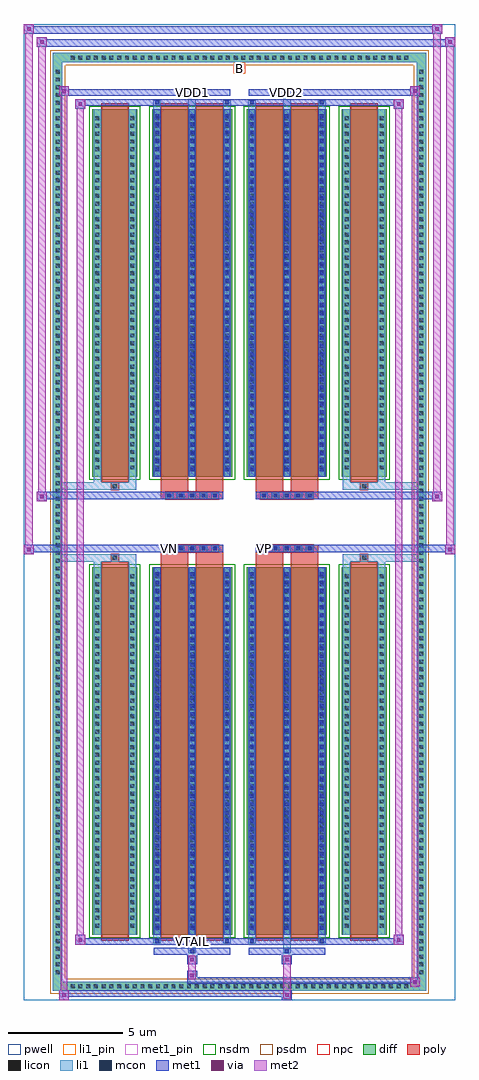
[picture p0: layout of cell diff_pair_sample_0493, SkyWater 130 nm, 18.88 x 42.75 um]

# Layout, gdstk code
import gdstk
lib = gdstk.Library(unit=1e-6, precision=5e-09)
def R(c, l, rs):  # rectangles x0, y0, x1, y1
    for r in rs: c.add(gdstk.rectangle(r[:2], r[2:], *l))
def A(c, l, x, y, w, h, nx, ny, dx, dy):  # array of equal rectangles
    R(c, l, [(x+i*dx, y+j*dy, x+i*dx+w, y+j*dy+h) for i in range(nx) for j in range(ny)])
def P(c, l, *ps):  # polygons
    for p in ps: c.add(gdstk.Polygon(p, *l))
pwell = (64, 44)
diff = (65, 20)
poly = (66, 20)
licon = (66, 44)
li1_pin = (67, 16)
li1 = (67, 20)
mcon = (67, 44)
met1_pin = (68, 16)
met1 = (68, 20)
via = (68, 44)
met2 = (69, 20)
nsdm = (93, 44)
psdm = (94, 20)
npc = (95, 20)

diff_pair_sample_0493 = lib.new_cell('diff_pair_sample_0493')
R(diff_pair_sample_0493, pwell, [(-9.44,-20.94,9.44,21.81), (-6.76,-19.13,-0.01,-0.795), (0.01,-19.13,6.76,-0.795), (-6.76,0.795,-0.01,19.13), (0.01,0.795,6.76,19.13)])
A(diff_pair_sample_0493, diff, -7.515, -20.54, 0.41, 0.41, 44, 2, 0.34, 40.67)
A(diff_pair_sample_0493, diff, -8.17, -19.925, 0.41, 0.41, 1, 117, 0, 0.34)
A(diff_pair_sample_0493, diff, 7.76, -19.925, 0.41, 0.41, 1, 117, 0, 0.34)
R(diff_pair_sample_0493, diff, [(-7.515,-20.54,7.515,-20.13), (-8.17,-19.925,-7.76,19.925), (7.76,-19.925,8.17,19.925), (-6.45,-18.085,-4.47,-1.985), (-3.83,-18.085,-0.32,-1.985), (0.32,-18.085,3.83,-1.985), (4.47,-18.085,6.45,-1.985), (-6.45,1.985,-4.47,18.085), (-3.83,1.985,-0.32,18.085), (0.32,1.985,3.83,18.085), (4.47,1.985,6.45,18.085), (-7.515,20.13,7.515,20.54)])
P(diff_pair_sample_0493, diff, [(8.17,20.54),(-8.17,20.54),(-8.17,-20.13),(-7.76,-20.13),(-7.76,20.13),(7.76,20.13),(7.76,-20.13),(-7.76,-20.13),(-8.17,-20.13),(-8.17,-20.54),(8.17,-20.54)])
A(diff_pair_sample_0493, poly, -3.24, -1.325, 0.33, 0.33, 5, 2, 0.5, 2.32)
A(diff_pair_sample_0493, poly, 0.91, -1.325, 0.33, 0.33, 5, 2, 0.5, 2.32)
R(diff_pair_sample_0493, poly, [(-6.06,-18.335,-4.86,-1.735), (-3.44,-18.335,-2.24,-1.735), (-1.91,-18.335,-0.71,-1.735), (0.71,-18.335,1.91,-1.735), (2.24,-18.335,3.44,-1.735), (4.86,-18.335,6.06,-1.735), (-5.625,-1.735,-5.295,-1.405), (-5.625,-1.735,-5.295,-1.405), (-3.44,-1.735,-2.24,-1.325), (-1.91,-1.735,-0.71,-1.325), (0.71,-1.735,1.91,-1.325), (2.24,-1.735,3.44,-1.325), (5.295,-1.735,5.625,-1.405), (5.295,-1.735,5.625,-1.405), (-3.44,-1.325,-0.71,-0.995), (0.71,-1.325,3.44,-0.995), (-3.44,0.995,-0.71,1.325), (0.71,0.995,3.44,1.325), (-3.44,1.325,-2.24,1.735), (-1.91,1.325,-0.71,1.735), (0.71,1.325,1.91,1.735), (2.24,1.325,3.44,1.735), (-5.625,1.405,-5.295,1.735), (-5.625,1.405,-5.295,1.735), (5.295,1.405,5.625,1.735), (5.295,1.405,5.625,1.735), (-6.06,1.735,-4.86,18.335), (-3.44,1.735,-2.24,18.335), (-1.91,1.735,-0.71,18.335), (0.71,1.735,1.91,18.335), (2.24,1.735,3.44,18.335), (4.86,1.735,6.06,18.335)])
A(diff_pair_sample_0493, licon, -7.395, -20.42, 0.17, 0.17, 44, 2, 0.34, 40.67)
A(diff_pair_sample_0493, licon, -8.05, -19.805, 0.17, 0.17, 1, 117, 0, 0.34)
A(diff_pair_sample_0493, licon, 7.88, -19.805, 0.17, 0.17, 1, 117, 0, 0.34)
A(diff_pair_sample_0493, licon, -6.31, -17.77, 0.17, 0.17, 1, 46, 0, 0.34)
A(diff_pair_sample_0493, licon, -4.78, -17.77, 0.17, 0.17, 1, 46, 0, 0.34)
A(diff_pair_sample_0493, licon, -3.69, -17.77, 0.17, 0.17, 3, 46, 1.53, 0.34)
A(diff_pair_sample_0493, licon, 0.46, -17.77, 0.17, 0.17, 3, 46, 1.53, 0.34)
A(diff_pair_sample_0493, licon, 4.61, -17.77, 0.17, 0.17, 1, 46, 0, 0.34)
A(diff_pair_sample_0493, licon, 6.14, -17.77, 0.17, 0.17, 1, 46, 0, 0.34)
A(diff_pair_sample_0493, licon, -3.16, -1.245, 0.17, 0.17, 5, 2, 0.5, 2.32)
A(diff_pair_sample_0493, licon, 0.99, -1.245, 0.17, 0.17, 5, 2, 0.5, 2.32)
A(diff_pair_sample_0493, licon, -6.31, 2.3, 0.17, 0.17, 1, 46, 0, 0.34)
A(diff_pair_sample_0493, licon, -4.78, 2.3, 0.17, 0.17, 1, 46, 0, 0.34)
A(diff_pair_sample_0493, licon, -3.69, 2.3, 0.17, 0.17, 3, 46, 1.53, 0.34)
A(diff_pair_sample_0493, licon, 0.46, 2.3, 0.17, 0.17, 3, 46, 1.53, 0.34)
A(diff_pair_sample_0493, licon, 4.61, 2.3, 0.17, 0.17, 1, 46, 0, 0.34)
A(diff_pair_sample_0493, licon, 6.14, 2.3, 0.17, 0.17, 1, 46, 0, 0.34)
R(diff_pair_sample_0493, licon, [(-5.545,-1.655,-5.375,-1.485), (5.375,-1.655,5.545,-1.485), (-5.545,1.485,-5.375,1.655), (5.375,1.485,5.545,1.655)])
R(diff_pair_sample_0493, li1_pin, [(-0.25,19.63,0.25,20.13)])
A(diff_pair_sample_0493, li1, -7.475, -20.5, 0.33, 0.33, 44, 2, 0.34, 40.67)
A(diff_pair_sample_0493, li1, -8.13, -19.885, 0.33, 0.33, 1, 117, 0, 0.34)
A(diff_pair_sample_0493, li1, 7.8, -19.885, 0.33, 0.33, 1, 117, 0, 0.34)
A(diff_pair_sample_0493, li1, -3.77, -18.085, 0.33, 16.1, 3, 2, 1.53, 20.07)
A(diff_pair_sample_0493, li1, 0.38, -18.085, 0.33, 16.1, 3, 2, 1.53, 20.07)
A(diff_pair_sample_0493, li1, -3.69, -17.86, 0.17, 0.17, 3, 44, 1.53, 0.36)
A(diff_pair_sample_0493, li1, -3.69, -17.86, 0.17, 15.65, 3, 2, 1.53, 20.07)
A(diff_pair_sample_0493, li1, 0.46, -17.86, 0.17, 0.17, 3, 44, 1.53, 0.36)
A(diff_pair_sample_0493, li1, 0.46, -17.86, 0.17, 15.65, 3, 2, 1.53, 20.07)
A(diff_pair_sample_0493, li1, -6.39, -17.85, 0.33, 0.33, 1, 46, 0, 0.34)
A(diff_pair_sample_0493, li1, -4.86, -17.85, 0.33, 0.33, 1, 46, 0, 0.34)
A(diff_pair_sample_0493, li1, -3.77, -17.85, 0.33, 0.33, 3, 46, 1.53, 0.34)
A(diff_pair_sample_0493, li1, 0.38, -17.85, 0.33, 0.33, 3, 46, 1.53, 0.34)
A(diff_pair_sample_0493, li1, 4.53, -17.85, 0.33, 0.33, 1, 46, 0, 0.34)
A(diff_pair_sample_0493, li1, 6.06, -17.85, 0.33, 0.33, 1, 46, 0, 0.34)
A(diff_pair_sample_0493, li1, -3.24, -1.325, 0.33, 0.33, 5, 2, 0.5, 2.32)
A(diff_pair_sample_0493, li1, 0.91, -1.325, 0.33, 0.33, 5, 2, 0.5, 2.32)
A(diff_pair_sample_0493, li1, -3.69, 2.21, 0.17, 0.17, 3, 44, 1.53, 0.36)
A(diff_pair_sample_0493, li1, 0.46, 2.21, 0.17, 0.17, 3, 44, 1.53, 0.36)
A(diff_pair_sample_0493, li1, -6.39, 2.22, 0.33, 0.33, 1, 46, 0, 0.34)
A(diff_pair_sample_0493, li1, -4.86, 2.22, 0.33, 0.33, 1, 46, 0, 0.34)
A(diff_pair_sample_0493, li1, -3.77, 2.22, 0.33, 0.33, 3, 46, 1.53, 0.34)
A(diff_pair_sample_0493, li1, 0.38, 2.22, 0.33, 0.33, 3, 46, 1.53, 0.34)
A(diff_pair_sample_0493, li1, 4.53, 2.22, 0.33, 0.33, 1, 46, 0, 0.34)
A(diff_pair_sample_0493, li1, 6.06, 2.22, 0.33, 0.33, 1, 46, 0, 0.34)
R(diff_pair_sample_0493, li1, [(-8.17,-20.54,-7.76,-20.13), (-8.17,-20.54,-7.76,-20.13), (-7.76,-20.54,7.76,-20.13), (7.76,-20.54,8.17,-20.13), (7.76,-20.54,8.17,-20.13), (-8.17,-20.13,-7.76,20.13), (7.76,-20.13,8.17,20.13), (-2.24,-18.89,-1.91,-18.085), (-2.16,-18.89,-1.99,-18.72), (1.91,-18.89,2.24,-18.085), (1.99,-18.89,2.16,-18.72), (-3.77,-18.46,-3.44,-18.085), (-3.69,-18.46,-3.52,-18.29), (-0.71,-18.46,-0.38,-18.085), (-0.63,-18.46,-0.46,-18.29), (0.38,-18.46,0.71,-18.085), (0.46,-18.46,0.63,-18.29), (3.44,-18.46,3.77,-18.085), (3.52,-18.46,3.69,-18.29), (-6.39,-18.085,-6.06,-1.985), (-4.86,-18.085,-4.53,-1.985), (4.53,-18.085,4.86,-1.985), (6.06,-18.085,6.39,-1.985), (-6.39,-1.985,-6.06,-1.405), (-4.86,-1.985,-4.53,-1.405), (4.53,-1.985,4.86,-1.405), (6.06,-1.985,6.39,-1.405), (-8.17,-1.735,-5.625,-1.405), (-6.39,-1.735,-5.625,-1.405), (-5.625,-1.735,-5.295,-1.405), (-5.295,-1.735,-4.53,-1.405), (4.53,-1.735,5.295,-1.405), (5.295,-1.735,5.625,-1.405), (5.295,-1.735,8.17,-1.405), (5.625,-1.735,6.39,-1.405), (-8.17,1.405,-5.625,1.735), (-6.39,1.405,-5.625,1.735), (-6.39,1.405,-6.06,1.985), (-5.625,1.405,-5.295,1.735), (-5.295,1.405,-4.53,1.735), (-4.86,1.405,-4.53,1.985), (4.53,1.405,5.295,1.735), (4.53,1.405,4.86,1.985), (5.295,1.405,5.625,1.735), (5.295,1.405,8.17,1.735), (5.625,1.405,6.39,1.735), (6.06,1.405,6.39,1.985), (-6.39,1.985,-6.06,18.085), (-4.86,1.985,-4.53,18.085), (4.53,1.985,4.86,18.085), (6.06,1.985,6.39,18.085), (-3.77,18.085,-3.44,18.46), (-2.24,18.085,-1.91,18.89), (-0.71,18.085,-0.38,18.46), (0.38,18.085,0.71,18.46), (1.91,18.085,2.24,18.89), (3.44,18.085,3.77,18.46), (-3.69,18.29,-3.52,18.46), (-0.63,18.29,-0.46,18.46), (0.46,18.29,0.63,18.46), (3.52,18.29,3.69,18.46), (-2.16,18.72,-1.99,18.89), (1.99,18.72,2.16,18.89), (-8.17,20.13,-7.76,20.54), (-8.17,20.13,-7.76,20.54), (-7.76,20.13,7.76,20.54), (7.76,20.13,8.17,20.54), (7.76,20.13,8.17,20.54)])
A(diff_pair_sample_0493, mcon, -3.69, -17.86, 0.17, 0.17, 3, 44, 1.53, 0.36)
A(diff_pair_sample_0493, mcon, 0.46, -17.86, 0.17, 0.17, 3, 44, 1.53, 0.36)
A(diff_pair_sample_0493, mcon, -3.16, -1.245, 0.17, 0.17, 5, 2, 0.5, 2.32)
A(diff_pair_sample_0493, mcon, 0.99, -1.245, 0.17, 0.17, 5, 2, 0.5, 2.32)
A(diff_pair_sample_0493, mcon, -3.69, 2.21, 0.17, 0.17, 3, 44, 1.53, 0.36)
A(diff_pair_sample_0493, mcon, 0.46, 2.21, 0.17, 0.17, 3, 44, 1.53, 0.36)
R(diff_pair_sample_0493, mcon, [(-2.16,-18.89,-1.99,-18.72), (1.99,-18.89,2.16,-18.72), (-3.69,-18.46,-3.52,-18.29), (-0.63,-18.46,-0.46,-18.29), (0.46,-18.46,0.63,-18.29), (3.52,-18.46,3.69,-18.29), (-3.69,18.29,-3.52,18.46), (-0.63,18.29,-0.46,18.46), (0.46,18.29,0.63,18.46), (3.52,18.29,3.69,18.46), (-2.16,18.72,-1.99,18.89), (1.99,18.72,2.16,18.89)])
R(diff_pair_sample_0493, met1_pin, [(-2.21,-18.5,-1.94,-18.23), (-3.21,-1.285,-2.94,-1.015), (0.94,-1.285,1.21,-1.015), (-2.21,18.68,-1.94,18.95), (1.94,18.68,2.21,18.95)])
A(diff_pair_sample_0493, met1, -3.75, -18.085, 0.29, 16.1, 3, 2, 1.53, 20.07)
A(diff_pair_sample_0493, met1, 0.4, -18.085, 0.29, 16.1, 3, 2, 1.53, 20.07)
A(diff_pair_sample_0493, met1, -3.75, -17.92, 0.29, 0.29, 3, 44, 1.53, 0.36)
A(diff_pair_sample_0493, met1, 0.4, -17.92, 0.29, 0.29, 3, 44, 1.53, 0.36)
A(diff_pair_sample_0493, met1, -3.22, -1.305, 0.29, 0.29, 5, 2, 0.5, 2.32)
A(diff_pair_sample_0493, met1, 0.93, -1.305, 0.29, 0.29, 5, 2, 0.5, 2.32)
A(diff_pair_sample_0493, met1, -3.75, 2.15, 0.29, 0.29, 3, 44, 1.53, 0.36)
A(diff_pair_sample_0493, met1, 0.4, 2.15, 0.29, 0.29, 3, 44, 1.53, 0.36)
R(diff_pair_sample_0493, met1, [(-7.9,-20.94,-7.47,-20.51), (1.86,-20.94,2.29,-20.51), (-7.9,-20.8,2.29,-20.51), (7.47,-20.37,7.9,-19.94), (-2.29,-20.23,7.9,-19.94), (-2.29,-20.09,-1.86,-19.66), (-2.29,-19.38,-1.86,-18.95), (1.86,-19.38,2.29,-18.95), (-3.75,-18.95,-0.4,-18.66), (-2.22,-18.95,-1.93,-18.66), (0.4,-18.95,3.75,-18.66), (1.93,-18.95,2.22,-18.66), (-7.19,-18.52,-6.76,-18.09), (-7.19,-18.52,-3.75,-18.23), (-3.75,-18.52,-3.46,-18.23), (-3.75,-18.52,-0.4,-18.23), (-0.69,-18.52,-0.4,-18.23), (-0.4,-18.52,0.4,-18.23), (0.4,-18.52,0.69,-18.23), (0.4,-18.52,3.75,-18.23), (3.46,-18.52,3.75,-18.23), (3.75,-18.52,7.19,-18.23), (6.76,-18.52,7.19,-18.09), (-9.44,-1.425,-9.01,-0.995), (9.01,-1.425,9.44,-0.995), (-9.44,-1.325,-0.71,-0.995), (-3.44,-1.325,-0.71,-0.995), (0.71,-1.325,3.44,-0.995), (0.71,-1.325,9.44,-0.995), (-8.87,0.895,-8.44,1.325), (8.44,0.895,8.87,1.325), (-8.87,0.995,-3.44,1.325), (-3.44,0.995,-0.71,1.325), (0.71,0.995,3.44,1.325), (3.44,0.995,8.87,1.325), (-7.19,18.09,-6.76,18.52), (6.76,18.09,7.19,18.52), (-7.19,18.23,-3.75,18.52), (-3.75,18.23,-3.46,18.52), (-3.75,18.23,-0.4,18.52), (-0.69,18.23,-0.4,18.52), (-0.4,18.23,0.4,18.52), (0.4,18.23,0.69,18.52), (0.4,18.23,3.75,18.52), (3.46,18.23,3.75,18.52), (3.75,18.23,7.19,18.52), (-7.9,18.66,-7.47,19.09), (-7.9,18.66,-3.75,18.95), (-3.75,18.66,-0.4,18.95), (-2.22,18.66,-1.93,18.95), (0.4,18.66,3.75,18.95), (1.93,18.66,2.22,18.95), (3.75,18.66,7.9,18.95), (7.47,18.66,7.9,19.09), (-8.87,20.81,-8.44,21.24), (-8.87,20.81,-6.76,21.14), (-6.76,20.81,6.76,21.14), (6.76,20.81,9.44,21.14), (9.01,20.81,9.44,21.24), (-9.44,21.38,-9.01,21.81), (-9.44,21.38,-6.76,21.71), (-6.76,21.38,6.76,21.71), (6.76,21.38,8.87,21.71), (8.44,21.38,8.87,21.81)])
R(diff_pair_sample_0493, via, [(-7.76,-20.8,-7.61,-20.65), (2,-20.8,2.15,-20.65), (7.61,-20.23,7.76,-20.08), (-2.15,-19.95,-2,-19.8), (-2.15,-19.24,-2,-19.09), (2,-19.24,2.15,-19.09), (-7.05,-18.38,-6.9,-18.23), (6.9,-18.38,7.05,-18.23), (-9.3,-1.285,-9.15,-1.135), (9.15,-1.285,9.3,-1.135), (-8.73,1.035,-8.58,1.185), (8.58,1.035,8.73,1.185), (-7.05,18.23,-6.9,18.38), (6.9,18.23,7.05,18.38), (-7.76,18.8,-7.61,18.95), (7.61,18.8,7.76,18.95), (-8.73,20.95,-8.58,21.1), (9.15,20.95,9.3,21.1), (-9.3,21.52,-9.15,21.67), (8.58,21.52,8.73,21.67)])
R(diff_pair_sample_0493, met2, [(-7.9,-20.94,-7.47,-20.51), (-7.83,-20.94,-7.54,19.09), (-7.54,-20.94,-7.47,-20.51), (-7.85,-20.89,-7.52,-20.56), (1.91,-20.89,2.24,-20.56), (1.91,-20.56,2.24,-19.33), (7.47,-20.37,7.9,-19.94), (7.54,-20.37,7.83,19.09), (7.83,-20.37,7.9,-19.94), (7.52,-20.32,7.85,-19.99), (-2.24,-20.04,-1.91,-19.71), (-2.24,-19.71,-1.91,-19.33), (-2.24,-19.33,-1.91,-19), (1.91,-19.33,2.24,-19), (-7.19,-18.52,-6.76,-18.09), (-7.12,-18.52,-6.83,18.52), (-6.83,-18.52,-6.76,-18.09), (6.76,-18.52,7.19,-18.09), (6.83,-18.52,7.12,18.52), (7.12,-18.52,7.19,-18.09), (-7.14,-18.47,-6.81,-18.14), (6.81,-18.47,7.14,-18.14), (-9.44,-1.425,-9.01,-0.995), (-9.39,-1.425,-9.06,21.81), (-9.06,-1.425,-9.01,-0.995), (9.01,-1.425,9.44,-0.995), (9.06,-1.425,9.39,21.24), (9.39,-1.425,9.44,-0.995), (-9.39,-1.375,-9.06,-1.045), (9.06,-1.375,9.39,-1.045), (-8.87,0.895,-8.44,1.325), (-8.82,0.895,-8.49,21.24), (-8.49,0.895,-8.44,1.325), (8.44,0.895,8.87,1.325), (8.49,0.895,8.82,21.81), (8.82,0.895,8.87,1.325), (-8.82,0.945,-8.49,1.275), (8.49,0.945,8.82,1.275), (-7.19,18.09,-6.76,18.52), (-6.83,18.09,-6.76,18.52), (6.76,18.09,7.19,18.52), (7.12,18.09,7.19,18.52), (-7.14,18.14,-6.81,18.47), (6.81,18.14,7.14,18.47), (-7.9,18.66,-7.47,19.09), (-7.54,18.66,-7.47,19.09), (7.47,18.66,7.9,19.09), (7.83,18.66,7.9,19.09), (-7.85,18.71,-7.52,19.04), (7.52,18.71,7.85,19.04), (-8.87,20.81,-8.44,21.24), (-8.49,20.81,-8.44,21.24), (9.01,20.81,9.44,21.24), (9.39,20.81,9.44,21.24), (-8.82,20.86,-8.49,21.19), (9.06,20.86,9.39,21.19), (-9.44,21.38,-9.01,21.81), (-9.06,21.38,-9.01,21.81), (8.44,21.38,8.87,21.81), (8.82,21.38,8.87,21.81), (-9.39,21.43,-9.06,21.76), (8.49,21.43,8.82,21.76)])
R(diff_pair_sample_0493, nsdm, [(-6.58,-18.215,-4.34,-1.855), (-3.96,-18.215,-0.19,-1.855), (0.19,-18.215,3.96,-1.855), (4.34,-18.215,6.58,-1.855), (-6.58,1.855,-4.34,18.215), (-3.96,1.855,-0.19,18.215), (0.19,1.855,3.96,18.215), (4.34,1.855,6.58,18.215)])
P(diff_pair_sample_0493, psdm, [(8.3,20.67),(-8.3,20.67),(-8.3,-20),(-7.63,-20),(-7.63,20),(7.63,20),(7.63,-20),(-7.63,-20),(-8.3,-20),(-8.3,-20.67),(8.3,-20.67)])
A(diff_pair_sample_0493, npc, -3.26, -1.345, 0.37, 0.37, 5, 2, 0.5, 2.32)
A(diff_pair_sample_0493, npc, 0.89, -1.345, 0.37, 0.37, 5, 2, 0.5, 2.32)
R(diff_pair_sample_0493, npc, [(-5.645,-1.755,-5.275,-1.385), (5.275,-1.755,5.645,-1.385), (-3.26,-1.345,-2.39,-0.975), (-3.26,-1.345,-2.39,-0.975), (-2.76,-1.345,-1.89,-0.975), (-2.76,-1.345,-1.89,-0.975), (-2.26,-1.345,-1.39,-0.975), (-2.26,-1.345,-1.39,-0.975), (-1.76,-1.345,-0.89,-0.975), (-1.76,-1.345,-0.89,-0.975), (0.89,-1.345,1.76,-0.975), (0.89,-1.345,1.76,-0.975), (1.39,-1.345,2.26,-0.975), (1.39,-1.345,2.26,-0.975), (1.89,-1.345,2.76,-0.975), (1.89,-1.345,2.76,-0.975), (2.39,-1.345,3.26,-0.975), (2.39,-1.345,3.26,-0.975), (-3.26,0.975,-2.39,1.345), (-3.26,0.975,-2.39,1.345), (-2.76,0.975,-1.89,1.345), (-2.76,0.975,-1.89,1.345), (-2.26,0.975,-1.39,1.345), (-2.26,0.975,-1.39,1.345), (-1.76,0.975,-0.89,1.345), (-1.76,0.975,-0.89,1.345), (0.89,0.975,1.76,1.345), (0.89,0.975,1.76,1.345), (1.39,0.975,2.26,1.345), (1.39,0.975,2.26,1.345), (1.89,0.975,2.76,1.345), (1.89,0.975,2.76,1.345), (2.39,0.975,3.26,1.345), (2.39,0.975,3.26,1.345), (-5.645,1.385,-5.275,1.755), (5.275,1.385,5.645,1.755)])
diff_pair_sample_0493.add(gdstk.Label('VTAIL', (-2.075,-18.365), layer=68, texttype=5))
diff_pair_sample_0493.add(gdstk.Label('VN', (-3.075,-1.15), layer=68, texttype=5))
diff_pair_sample_0493.add(gdstk.Label('VP', (1.075,-1.15), layer=68, texttype=5))
diff_pair_sample_0493.add(gdstk.Label('B', (0,19.88), layer=67, texttype=5))
diff_pair_sample_0493.add(gdstk.Label('VDD2', (2.075,18.815), layer=68, texttype=5))
diff_pair_sample_0493.add(gdstk.Label('VDD1', (-2.075,18.815), layer=68, texttype=5))

lib.write_gds('diff_pair_sample_0493.gds')
